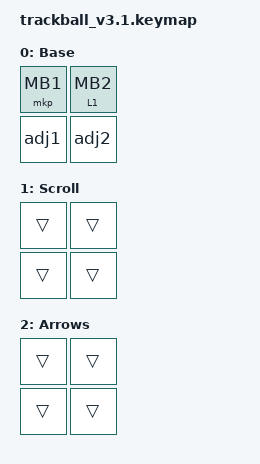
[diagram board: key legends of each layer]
#include "keys_ru.h"
#include <dt-bindings/zmk/input_transform.h>
#include <input/processors.dtsi>
#include <zephyr/dt-bindings/input/input-event-codes.h>
#include <dt-bindings/zmk/matrix_transform.h>
#include <dt-bindings/zmk/keys.h>
#include <scroll-snap.dtsi>
#include <behaviors.dtsi>
#include <dt-bindings/zmk/bt.h>
#include <dt-bindings/zmk/pointing.h>

/ {
    zip_arrows: zip_arrows {
        compatible = "zmk,input-processor-key";
        #input-processor-cells = <0>;
        x-key-negative = <LEFT>;     /* ZMK HID 0x50 – Left Arrow  */
        x-key-positive = <RIGHT>;    /* ZMK HID 0x4F – Right Arrow */
        x-threshold = <5>;
        y-key-negative = <UP>;       /* ZMK HID 0x52 – Up Arrow    */
        y-key-positive = <DOWN>;     /* ZMK HID 0x51 – Down Arrow  */
        y-threshold = <5>;
        max-report = <4>;
    };

};

/ {
    default_transform: keymap_transform_0 {
        compatible = "zmk,matrix-transform";
        columns = <2>;
        rows = <2>;
        map = <
        RC(0,3) RC(0,2)
        RC(0,5) RC(0,4)
        >;
    };

    combos {
        compatible = "zmk,combos";

        arrows_combo {
            key-positions = <0 1>;
            bindings = <&mo 2>;
            timeout-ms = <200>;
        };

        base_combo {
            key-positions = <2 3>;
            bindings = <&hold_mo_tap_mkp 1 MB3>;
        };
    };

    behaviors {
        adj1: adj1 {
            compatible = "zmk,behavior-tap-dance";
            label = "ADJ1";
            #binding-cells = <0>;
            bindings = <&bt BT_SEL 0>, <&bt BT_CLR>;
        };

        adj2: adj2 {
            compatible = "zmk,behavior-tap-dance";
            label = "ADJ2";
            #binding-cells = <0>;
            bindings = <&bt BT_NXT>, <&bt BT_CLR_ALL>;
        };

        hold_mo_tap_mkp: hold_mo_tap_mkp {
            compatible = "zmk,behavior-hold-tap";
            label = "HOLD_MO_TAP_MKP";
            bindings = <&mo>, <&mkp>;
            #binding-cells = <2>;
            tapping-term-ms = <200>;
            hold-while-undecided;
            hold-while-undecided-linger;
        };
    };

    keymap {
        compatible = "zmk,keymap";

        base {
            bindings = <
&mkp MB1  &hold_mo_tap_mkp 1 MB2
&adj1     &adj2
            >;
            display-name = "Base";
        };

        scroll {
            bindings = <
&trans  &trans
&trans  &trans
            >;
            display-name = "Scroll";
        };

        arrows {
            bindings = <
&trans  &trans
&trans  &trans
            >;
            display-name = "Arrows";
        };
    };
};

&trackball { cpi = <1000>; };

&trackball_listener {
    input-processors = <&zip_xy_scaler 9 20>;

    arrows {
        layers = <2>;
        input-processors =
            <&zip_xy_scaler 1 20>,
            <&zip_arrows>;
    };

    scroller {
        layers = <1>;
        input-processors =
            <&zip_xy_transform INPUT_TRANSFORM_Y_INVERT>,
            <&zip_xy_scaler 1 32>,
            <&zip_xy_to_scroll_mapper &zip_scroll_snap>;
    };

    sniper {
        layers = <3>;
        input-processors = <&zip_xy_scaler 1 4>;
    };

    adjust {
        layers = <4>;
        input-processors = <&zip_xy_scaler 1 8>;
    };
};
